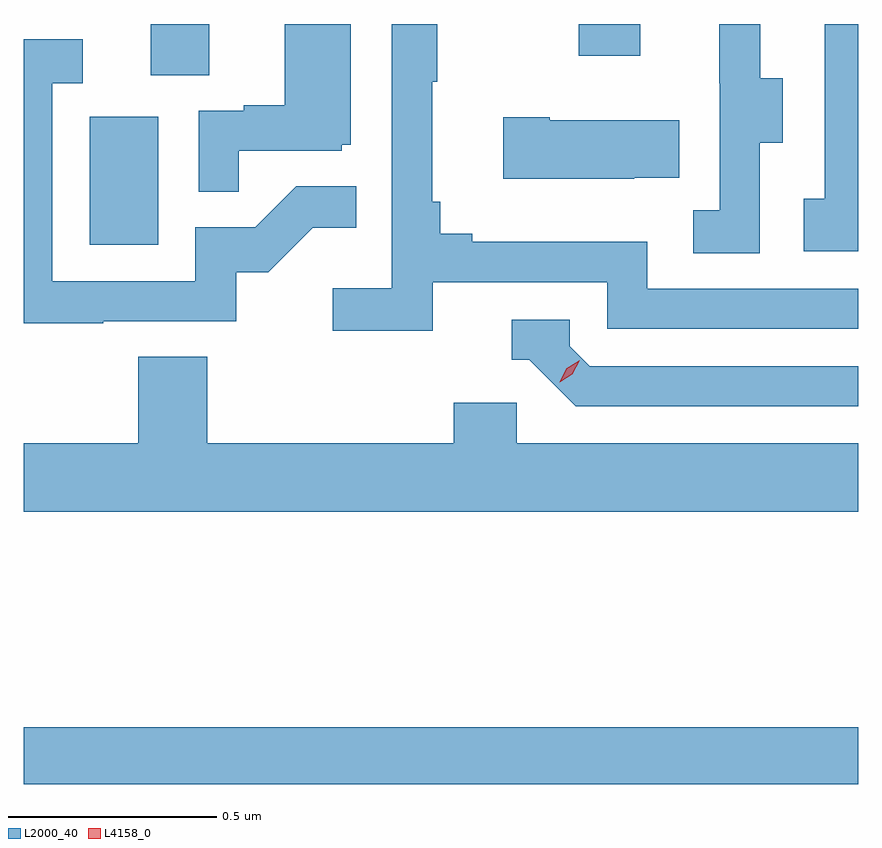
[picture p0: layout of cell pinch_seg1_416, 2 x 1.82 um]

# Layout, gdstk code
import gdstk
lib = gdstk.Library(unit=1e-6, precision=1e-09)
def R(c, l, rs):  # rectangles x0, y0, x1, y1
    for r in rs: c.add(gdstk.rectangle(r[:2], r[2:], *l))
def P(c, l, *ps):  # polygons
    for p in ps: c.add(gdstk.Polygon(p, *l))
L2000_40 = (2000, 40)
L4158_0 = (4158, 0)

pinch_seg1_416 = lib.new_cell('pinch_seg1_416')
R(pinch_seg1_416, L2000_40, [(924.402,527.104,926.402,527.24), (924.56,528.396,924.724,528.703), (924.707,528.802,924.847,528.925), (925.732,528.849,925.879,528.925)])
P(pinch_seg1_416, L2000_40, [(925.382,528.306),(925.8,528.306),(925.8,528.195),(926.402,528.195),(926.402,528.291),(925.896,528.291),(925.896,528.403),(925.477,528.403),(925.477,528.422),(925.4,528.422),(925.4,528.499),(925.381,528.499),(925.381,528.787),(925.393,528.787),(925.393,528.925),(925.284,528.925),(925.284,528.292),(925.143,528.292),(925.143,528.19),(925.382,528.19)],
  [(926.166,528.64),(926.221,528.64),(926.221,528.795),(926.167,528.795),(926.167,528.925),(926.069,528.925),(926.069,528.783),(926.07,528.783),(926.07,528.479),(926.007,528.479),(926.007,528.376),(926.166,528.376)],
  [(924.917,528.621),(925.164,528.621),(925.164,528.636),(925.186,528.636),(925.186,528.925),(925.028,528.925),(925.028,528.73),(924.929,528.73),(924.929,528.717),(924.822,528.717),(924.822,528.523),(924.917,528.523)],
  [(926.402,528.925),(926.322,528.925),(926.322,528.506),(926.271,528.506),(926.271,528.381),(926.402,528.381)],
  [(924.593,528.213),(924.912,528.213),(924.912,528.33),(924.988,528.33),(925.095,528.437),(925.199,528.437),(925.199,528.536),(925.055,528.536),(924.957,528.438),(924.813,528.438),(924.813,528.309),(924.471,528.309),(924.471,528.783),(924.544,528.783),(924.544,528.889),(924.402,528.889),(924.402,528.208),(924.593,528.208)],
  [(925.865,528.557),(925.973,528.557),(925.973,528.694),(925.663,528.694),(925.663,528.702),(925.551,528.702),(925.551,528.554),(925.865,528.554)],
  [(926.402,528.105),(925.758,528.105),(925.71,528.153),(925.71,528.216),(925.571,528.216),(925.571,528.12),(925.614,528.12),(925.725,528.009),(926.402,528.009)],
  [(926.402,527.92),(925.584,527.92),(925.584,528.018),(925.433,528.018),(925.433,527.92),(924.842,527.92),(924.842,528.128),(924.677,528.128),(924.677,527.92),(924.402,527.92),(924.402,527.756),(926.402,527.756)])
P(pinch_seg1_416, L4158_0, [(925.686,528.067),(925.686,528.068),(925.703,528.1),(925.734,528.119),(925.734,528.119),(925.734,528.119),(925.717,528.086),(925.686,528.067)])

lib.write_gds('pinch_seg1_416.gds')
